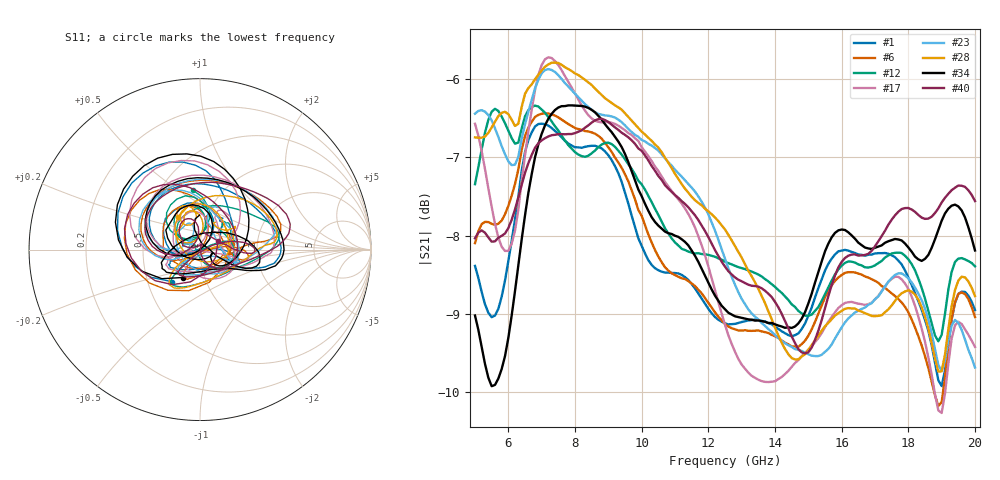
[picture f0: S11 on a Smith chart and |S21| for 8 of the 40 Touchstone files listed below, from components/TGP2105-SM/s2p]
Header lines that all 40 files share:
! Comments:
!^VDC(V):5.000
!%Freq(GHz),S11(dB),S11(ang),S21(dB),S21(ang),S12(dB),S12(ang),S22(dB),S22(ang)
# GHz  S  DB  R  50
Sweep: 5 GHz to 20 GHz
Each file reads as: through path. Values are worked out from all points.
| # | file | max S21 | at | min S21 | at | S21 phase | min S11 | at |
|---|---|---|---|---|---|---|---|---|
| 1 | TGP2105-SM_EVB01_25C_Phase00.s2p | -6.57 dB | 7 GHz | -9.9 dB | 19 GHz | -70 deg at 12.5 GHz | -44.6 dB | 17.7 GHz |
| 2 | TGP2105-SM_EVB01_25C_Phase01.s2p | -6.65 dB | 7.2 GHz | -10.2 dB | 18.9 GHz | -67 deg at 12.5 GHz | -37.1 dB | 11.2 GHz |
| 3 | TGP2105-SM_EVB01_25C_Phase02.s2p | -6.89 dB | 6.7 GHz | -9.6 dB | 19 GHz | -59 deg at 12.5 GHz | -30.8 dB | 17.6 GHz |
| 4 | TGP2105-SM_EVB01_25C_Phase03.s2p | -7.06 dB | 8.8 GHz | -9.6 dB | 19 GHz | -55 deg at 12.5 GHz | -30.4 dB | 17.6 GHz |
| 5 | TGP2105-SM_EVB01_25C_Phase04.s2p | -6.35 dB | 7 GHz | -9.9 dB | 19 GHz | -47 deg at 12.5 GHz | -64.1 dB | 11.4 GHz |
| 6 | TGP2105-SM_EVB01_25C_Phase05.s2p | -6.44 dB | 7.1 GHz | -10.2 dB | 18.9 GHz | -44 deg at 12.5 GHz | -33.9 dB | 11.5 GHz |
| 7 | TGP2105-SM_EVB01_25C_Phase06.s2p | -6.61 dB | 6.7 GHz | -9.5 dB | 14.9 GHz | -36 deg at 12.5 GHz | -27.6 dB | 11.4 GHz |
| 8 | TGP2105-SM_EVB01_25C_Phase07.s2p | -6.77 dB | 6.6 GHz | -9.6 dB | 19 GHz | -32 deg at 12.5 GHz | -32.2 dB | 9.4 GHz |
| 9 | TGP2105-SM_EVB01_25C_Phase08.s2p | -6.13 dB | 7.3 GHz | -9.6 dB | 18.9 GHz | -22 deg at 12.5 GHz | -34.5 dB | 18.1 GHz |
| 10 | TGP2105-SM_EVB01_25C_Phase09.s2p | -6.20 dB | 7.2 GHz | -10.0 dB | 18.9 GHz | -17 deg at 12.5 GHz | -30.6 dB | 12 GHz |
| 11 | TGP2105-SM_EVB01_25C_Phase10.s2p | -6.27 dB | 6.9 GHz | -9.2 dB | 18.9 GHz | -10 deg at 12.5 GHz | -38.9 dB | 9.3 GHz |
| 12 | TGP2105-SM_EVB01_25C_Phase11.s2p | -6.34 dB | 6.8 GHz | -9.3 dB | 18.9 GHz | -5 deg at 12.5 GHz | -33.8 dB | 18.1 GHz |
| 13 | TGP2105-SM_EVB01_25C_Phase12.s2p | -5.94 dB | 7.2 GHz | -9.6 dB | 18.9 GHz | 4 deg at 12.5 GHz | -25.8 dB | 18.3 GHz |
| 14 | TGP2105-SM_EVB01_25C_Phase13.s2p | -5.99 dB | 7.1 GHz | -10.0 dB | 18.9 GHz | 8 deg at 12.5 GHz | -30.5 dB | 18.3 GHz |
| 15 | TGP2105-SM_EVB01_25C_Phase14.s2p | -6.05 dB | 6.9 GHz | -9.1 dB | 18.9 GHz | 14 deg at 12.5 GHz | -33.5 dB | 9.7 GHz |
| 16 | TGP2105-SM_EVB01_25C_Phase15.s2p | -6.10 dB | 6.7 GHz | -9.3 dB | 18.9 GHz | 20 deg at 12.5 GHz | -34.9 dB | 9.7 GHz |
| 17 | TGP2105-SM_EVB01_25C_Phase16.s2p | -5.72 dB | 7.2 GHz | -10.3 dB | 19 GHz | 16 deg at 12.5 GHz | -33.8 dB | 17.7 GHz |
| 18 | TGP2105-SM_EVB01_25C_Phase17.s2p | -5.78 dB | 7.4 GHz | -10.6 dB | 19 GHz | 20 deg at 12.5 GHz | -39.0 dB | 17.7 GHz |
| 19 | TGP2105-SM_EVB01_25C_Phase18.s2p | -6.09 dB | 7.2 GHz | -9.8 dB | 19 GHz | 29 deg at 12.5 GHz | -40.0 dB | 17.5 GHz |
| 20 | TGP2105-SM_EVB01_25C_Phase19.s2p | -6.32 dB | 7.5 GHz | -10.0 dB | 19 GHz | 34 deg at 12.5 GHz | -39.4 dB | 17.6 GHz |
| 21 | TGP2105-SM_EVB01_25C_Phase20.s2p | -5.53 dB | 7.2 GHz | -10.2 dB | 19 GHz | 40 deg at 12.5 GHz | -34.5 dB | 11.5 GHz |
| 22 | TGP2105-SM_EVB01_25C_Phase21.s2p | -5.60 dB | 7.4 GHz | -10.6 dB | 18.9 GHz | 44 deg at 12.5 GHz | -32.2 dB | 11.6 GHz |
| 23 | TGP2105-SM_EVB01_25C_Phase22.s2p | -5.87 dB | 7.2 GHz | -9.7 dB | 19 GHz | 53 deg at 12.5 GHz | -28.4 dB | 17.6 GHz |
| 24 | TGP2105-SM_EVB01_25C_Phase23.s2p | -6.10 dB | 7.4 GHz | -9.9 dB | 19 GHz | 57 deg at 12.5 GHz | -25.8 dB | 17.7 GHz |
| 25 | TGP2105-SM_EVB01_25C_Phase24.s2p | -5.40 dB | 7.5 GHz | -10.1 dB | 18.9 GHz | 67 deg at 12.5 GHz | -44.0 dB | 18.1 GHz |
| 26 | TGP2105-SM_EVB01_25C_Phase25.s2p | -5.46 dB | 7.6 GHz | -10.6 dB | 18.9 GHz | 71 deg at 12.5 GHz | -42.7 dB | 12.2 GHz |
| 27 | TGP2105-SM_EVB01_25C_Phase26.s2p | -5.58 dB | 7.3 GHz | -9.5 dB | 18.9 GHz | 80 deg at 12.5 GHz | -32.2 dB | 17.9 GHz |
| 28 | TGP2105-SM_EVB01_25C_Phase27.s2p | -5.79 dB | 7.3 GHz | -9.7 dB | 18.9 GHz | 85 deg at 12.5 GHz | -37.8 dB | 18 GHz |
| 29 | TGP2105-SM_EVB01_25C_Phase28.s2p | -5.24 dB | 7.5 GHz | -10.0 dB | 18.9 GHz | 92 deg at 12.5 GHz | -32.8 dB | 12.4 GHz |
| 30 | TGP2105-SM_EVB01_25C_Phase29.s2p | -5.29 dB | 7.6 GHz | -10.5 dB | 18.9 GHz | 96 deg at 12.5 GHz | -33.1 dB | 12.5 GHz |
| 31 | TGP2105-SM_EVB01_25C_Phase30.s2p | -5.38 dB | 7.3 GHz | -9.4 dB | 18.9 GHz | 105 deg at 12.5 GHz | -28.1 dB | 5.9 GHz |
| 32 | TGP2105-SM_EVB01_25C_Phase31.s2p | -5.57 dB | 7.3 GHz | -9.7 dB | 18.9 GHz | 110 deg at 12.5 GHz | -25.1 dB | 9.5 GHz |
| 33 | TGP2105-SM_EVB01_25C_Phase32.s2p | -6.33 dB | 7.5 GHz | -10.3 dB | 5.5 GHz | 117 deg at 12.5 GHz | -41.9 dB | 11.2 GHz |
| 34 | TGP2105-SM_EVB01_25C_Phase33.s2p | -6.34 dB | 7.8 GHz | -9.9 dB | 5.5 GHz | 121 deg at 12.5 GHz | -40.7 dB | 11.3 GHz |
| 35 | TGP2105-SM_EVB01_25C_Phase34.s2p | -6.55 dB | 8.8 GHz | -9.4 dB | 14.8 GHz | 128 deg at 12.5 GHz | -36.8 dB | 9.1 GHz |
| 36 | TGP2105-SM_EVB01_25C_Phase35.s2p | -6.64 dB | 8.7 GHz | -9.3 dB | 14.7 GHz | 133 deg at 12.5 GHz | -33.1 dB | 8.9 GHz |
| 37 | TGP2105-SM_EVB01_25C_Phase36.s2p | -6.16 dB | 7.5 GHz | -9.6 dB | 5 GHz | 141 deg at 12.5 GHz | -33.3 dB | 19.8 GHz |
| 38 | TGP2105-SM_EVB01_25C_Phase37.s2p | -6.18 dB | 7.7 GHz | -9.3 dB | 14.7 GHz | 145 deg at 12.5 GHz | -38.5 dB | 11.5 GHz |
| 39 | TGP2105-SM_EVB01_25C_Phase38.s2p | -6.42 dB | 8.8 GHz | -9.6 dB | 14.9 GHz | 152 deg at 12.5 GHz | -45.6 dB | 9.4 GHz |
| 40 | TGP2105-SM_EVB01_25C_Phase39.s2p | -6.50 dB | 8.8 GHz | -9.5 dB | 14.9 GHz | 157 deg at 12.5 GHz | -45.9 dB | 9 GHz |
